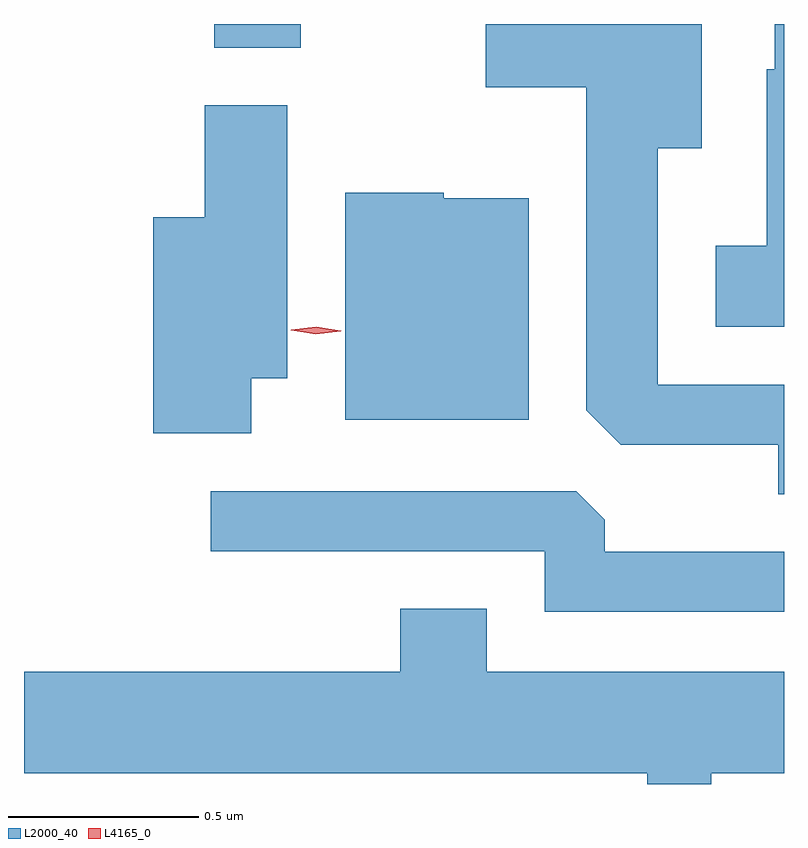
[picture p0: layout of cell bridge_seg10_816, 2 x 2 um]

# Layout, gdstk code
import gdstk
lib = gdstk.Library(unit=1e-6, precision=1e-09)
def R(c, l, rs):  # rectangles x0, y0, x1, y1
    for r in rs: c.add(gdstk.rectangle(r[:2], r[2:], *l))
def P(c, l, *ps):  # polygons
    for p in ps: c.add(gdstk.Polygon(p, *l))
L2000_40 = (2000, 40)
L4165_0 = (4165, 0)

bridge_seg10_816 = lib.new_cell('bridge_seg10_816')
R(bridge_seg10_816, L2000_40, [(575.701,2166.886,575.929,2166.948)])
P(bridge_seg10_816, L2000_40, [(577.201,2165.999),(576.869,2165.999),(576.869,2166.621),(576.984,2166.621),(576.984,2166.948),(576.416,2166.948),(576.416,2166.781),(576.681,2166.781),(576.681,2165.932),(576.772,2165.841),(577.186,2165.841),(577.186,2165.711),(577.201,2165.711)],
  [(577.201,2166.948),(577.176,2166.948),(577.176,2166.829),(577.156,2166.829),(577.156,2166.364),(577.021,2166.364),(577.021,2166.151),(577.201,2166.151)],
  [(575.799,2166.016),(575.894,2166.016),(575.894,2166.734),(575.676,2166.734),(575.676,2166.439),(575.541,2166.439),(575.541,2165.871),(575.799,2165.871)],
  [(576.529,2166.489),(576.305,2166.489),(576.305,2166.504),(576.046,2166.504),(576.046,2165.906),(576.529,2165.906)],
  [(577.201,2165.559),(576.729,2165.559),(576.729,2165.644),(576.654,2165.719),(575.693,2165.719),(575.693,2165.561),(576.571,2165.561),(576.571,2165.401),(577.201,2165.401)],
  [(577.009,2164.976),(577.201,2164.976),(577.201,2165.244),(576.419,2165.244),(576.419,2165.409),(576.191,2165.409),(576.191,2165.244),(575.201,2165.244),(575.201,2164.976),(576.841,2164.976),(576.841,2164.948),(577.009,2164.948)])
P(bridge_seg10_816, L4165_0, [(575.969,2166.131),(575.904,2166.142),(575.903,2166.142),(575.904,2166.143),(575.97,2166.151),(576.035,2166.141),(576.036,2166.141),(576.035,2166.14)])

lib.write_gds('bridge_seg10_816.gds')
